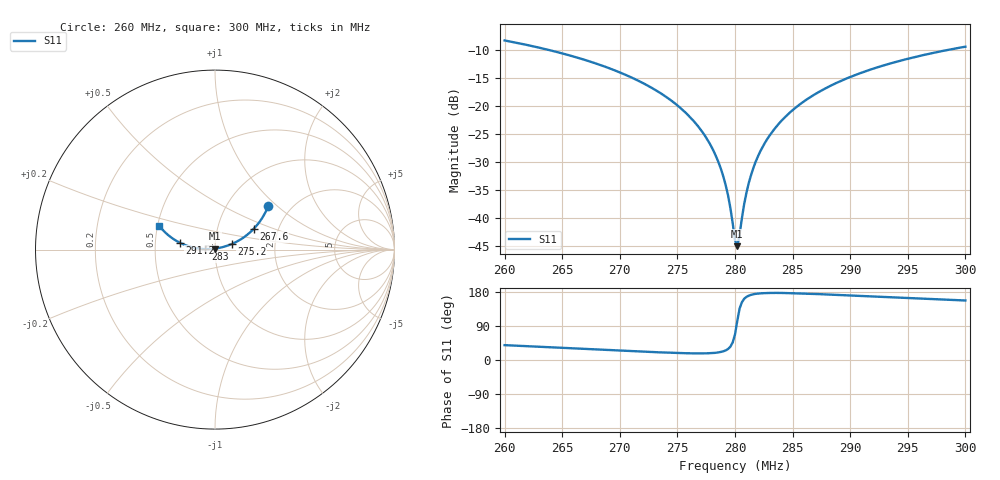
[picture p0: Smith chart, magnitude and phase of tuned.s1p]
! COPPER MOUNTAIN TECHNOLOGIES, TR5048, 14027131, 0.7.17/2.0
! Date: 1.11.2025 09:56:38
! Data: Format [Calibration Info]
! Freq  S11: Re/Im F1
# HZ S RI R 50
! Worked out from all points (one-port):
!   201 points, 260 MHz to 300 MHz, reference 50 ohm
!   lowest |S11| = -45.0 dB at 280.2 MHz (marker M1), VSWR 1.01, Z = 49.9 + j0.547 ohm
!   |S11| at or under -10 dB: 263.7 MHz to 298.6 MHz (34.82 MHz wide, 12.4 % of centre)
!   S11 on the Smith chart (normalised r, x): 260 MHz: 1.54, +0.87; 267.6 MHz: 1.50, +0.37; 275.2 MHz: 1.20, +0.07; 283 MHz: 0.90, +0.01; 291.2 MHz: 0.67, +0.05; 300 MHz: 0.51, +0.15
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2.6e8  0.2962 0.2417
2.65e8  0.2488 0.1553
2.676e8  0.2156 0.1156
2.7e8  0.1803 0.0833
2.728e8  0.1346 0.0517
2.75e8  0.0958 0.0321
2.752e8  0.0921 0.0306
2.77e8  0.059 0.0185
2.778e8  0.044 0.0143
2.784e8  0.0327 0.0114
2.79e8  0.0214 0.0091
2.794e8  0.0139 0.00774
2.796e8  0.0101 0.00708
2.8e8  0.00246 0.00591
2.802e8  -0.0013 0.00549
2.804e8  -0.00515 0.00499
2.808e8  -0.0127 0.00423
2.81e8  -0.0165 0.0039
2.814e8  -0.0241 0.00339
2.822e8  -0.0394 0.00284
2.83e8  -0.0543 0.00296
2.84e8  -0.073 0.00403
2.85e8  -0.0914 0.00596
2.872e8  -0.1308 0.0139
2.9e8  -0.1782 0.0303
2.912e8  -0.1973 0.039
2.95e8  -0.2519 0.074
3e8  -0.3097 0.1313
